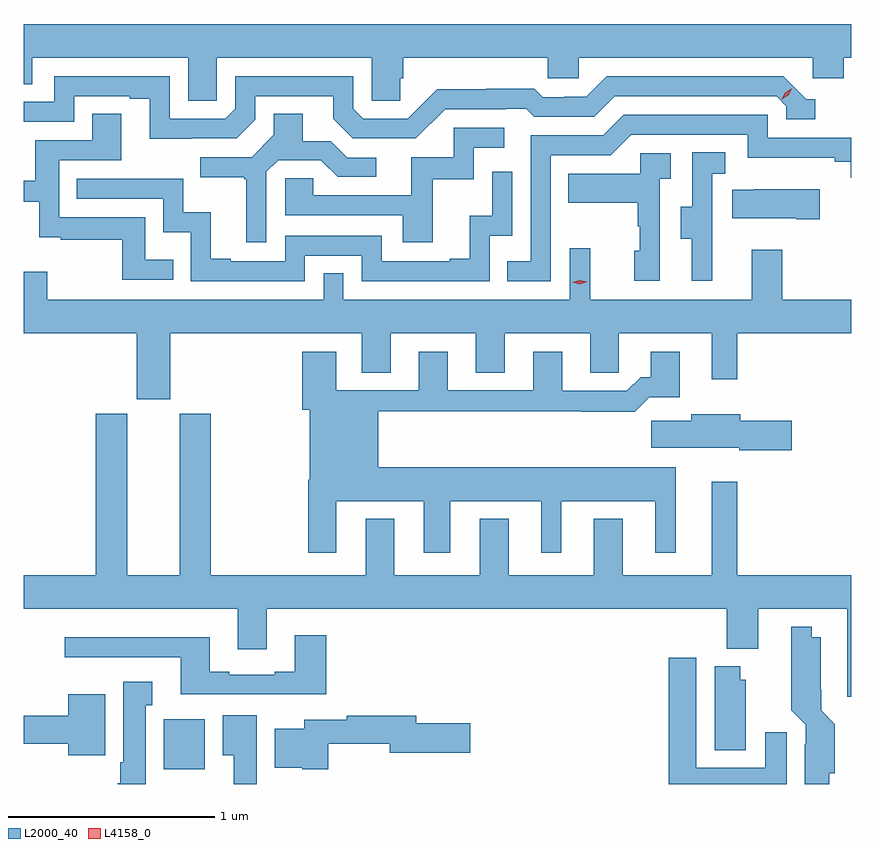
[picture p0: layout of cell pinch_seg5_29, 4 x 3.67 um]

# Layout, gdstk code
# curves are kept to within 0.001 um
import gdstk
lib = gdstk.Library(unit=1e-6, precision=1e-09)
def R(c, l, rs):  # rectangles x0, y0, x1, y1
    for r in rs: c.add(gdstk.rectangle(r[:2], r[2:], *l))
def P(c, l, *ps):  # polygons
    for p in ps: c.add(gdstk.Polygon(p, *l))
L2000_40 = (2000, 40)
L4158_0 = (4158, 0)

pinch_seg5_29 = lib.new_cell('pinch_seg5_29')
R(pinch_seg5_29, L2000_40, [(1106.42,902.606,1106.617,902.848)])
P(pinch_seg5_29, L2000_40, [(1105.743,905.917),(1105.785,905.917),(1105.785,906.044),(1106.537,906.044),(1106.537,905.836),(1106.676,905.836),(1106.676,906.044),(1107.426,906.044),(1107.426,905.836),(1107.563,905.836),(1107.563,905.946),(1107.578,905.946),(1107.578,906.044),(1108.275,906.044),(1108.275,905.946),(1108.425,905.946),(1108.425,906.044),(1109.556,906.044),(1109.556,905.946),(1109.708,905.946),(1109.708,906.044),(1109.743,906.044),(1109.743,906.208),(1105.743,906.208)],
  [(1106.556,905.655),(1106.772,905.655),(1106.862,905.745),(1106.862,905.859),(1107.239,905.859),(1107.239,905.749),(1107.333,905.655),(1107.639,905.655),(1107.78,905.796),(1108.073,905.796),(1108.073,905.799),(1108.172,905.799),(1108.211,905.76),(1108.5,905.76),(1108.599,905.859),(1109.382,905.859),(1109.43,905.811),(1109.43,905.748),(1109.569,905.748),(1109.569,905.844),(1109.526,905.844),(1109.415,905.955),(1108.562,905.955),(1108.463,905.856),(1108.356,905.856),(1108.356,905.853),(1108.253,905.853),(1108.211,905.896),(1107.978,905.896),(1107.978,905.893),(1107.742,905.893),(1107.6,905.751),(1107.384,905.751),(1107.336,905.799),(1107.336,905.955),(1106.766,905.955),(1106.766,905.799),(1106.718,905.751),(1106.448,905.751),(1106.448,905.955),(1105.89,905.955),(1105.89,905.832),(1105.743,905.832),(1105.743,905.736),(1105.986,905.736),(1105.986,905.859),(1106.255,905.859),(1106.255,905.847),(1106.351,905.847),(1106.351,905.654)],
  [(1106.916,905.493),(1106.973,905.55),(1107.179,905.55),(1107.26,905.469),(1107.448,905.469),(1107.448,905.562),(1107.306,905.562),(1107.226,905.642),(1107.091,905.642),(1107.091,905.774),(1106.951,905.774),(1106.951,905.672),(1106.844,905.565),(1106.595,905.565),(1106.595,905.468),(1106.808,905.468),(1106.808,905.457),(1106.819,905.457),(1106.819,905.154),(1106.916,905.154)],
  [(1106.465,905.068),(1106.331,905.068),(1106.331,905.274),(1105.914,905.274),(1105.914,905.55),(1106.215,905.55),(1106.215,905.774),(1106.075,905.774),(1106.075,905.646),(1105.798,905.646),(1105.798,905.45),(1105.743,905.45),(1105.743,905.349),(1105.818,905.349),(1105.818,905.177),(1105.921,905.177),(1105.921,905.166),(1106.22,905.166),(1106.22,904.971),(1106.465,904.971)],
  [(1108.29,905.574),(1108.581,905.574),(1108.68,905.673),(1109.244,905.673),(1109.244,905.561),(1109.663,905.561),(1109.663,905.542),(1109.74,905.542),(1109.74,905.465),(1109.743,905.465),(1109.743,905.658),(1109.34,905.658),(1109.34,905.769),(1108.643,905.769),(1108.544,905.67),(1108.194,905.67),(1108.194,905.061),(1108.081,905.061),(1108.081,904.965),(1108.29,904.965)],
  [(1107.719,905.457),(1107.918,905.457),(1107.918,905.61),(1108.066,905.61),(1108.066,905.706),(1107.822,905.706),(1107.822,905.565),(1107.617,905.565),(1107.617,905.379),(1107.143,905.379),(1107.143,905.463),(1107.006,905.463),(1107.006,905.283),(1107.575,905.283),(1107.575,905.154),(1107.719,905.154)],
  [(1109.072,905.181),(1109.07,905.181),(1109.07,905.485),(1109.134,905.485),(1109.134,905.588),(1108.974,905.588),(1108.974,905.325),(1108.919,905.325),(1108.919,905.17),(1108.973,905.17),(1108.973,904.968),(1109.072,904.968)],
  [(1108.818,905.459),(1108.87,905.459),(1108.87,905.583),(1108.722,905.583),(1108.722,905.485),(1108.375,905.485),(1108.375,905.345),(1108.71,905.345),(1108.71,905.231),(1108.72,905.231),(1108.72,905.112),(1108.694,905.112),(1108.694,904.968),(1108.818,904.968)],
  [(1107.102,905.088),(1107.378,905.088),(1107.378,904.965),(1107.996,904.965),(1107.996,905.184),(1108.104,905.184),(1108.104,905.494),(1108.008,905.494),(1108.008,905.282),(1107.899,905.282),(1107.899,905.074),(1107.803,905.074),(1107.803,905.061),(1107.474,905.061),(1107.474,905.184),(1107.006,905.184),(1107.006,905.061),(1106.743,905.061),(1106.743,905.074),(1106.647,905.074),(1106.647,905.299),(1106.514,905.299),(1106.514,905.46),(1105.999,905.46),(1105.999,905.364),(1106.418,905.364),(1106.418,905.201),(1106.55,905.201),(1106.55,904.965),(1107.102,904.965)],
  [(1109.59,905.41),(1109.275,905.41),(1109.275,905.407),(1109.167,905.407),(1109.167,905.27),(1109.477,905.27),(1109.477,905.263),(1109.59,905.263)],
  [(1106.452,904.712),(1107.377,904.712),(1107.377,904.522),(1107.517,904.522),(1107.517,904.712),(1107.929,904.712),(1107.929,904.522),(1108.069,904.522),(1108.069,904.712),(1108.481,904.712),(1108.481,904.522),(1108.62,904.522),(1108.62,904.712),(1109.069,904.712),(1109.069,904.491),(1109.191,904.491),(1109.191,904.712),(1109.743,904.712),(1109.743,904.876),(1109.409,904.876),(1109.409,905.116),(1109.261,905.116),(1109.261,904.876),(1108.481,904.876),(1108.481,905.125),(1108.383,905.125),(1108.383,904.876),(1107.288,904.876),(1107.288,905.003),(1107.192,905.003),(1107.192,904.876),(1105.857,904.876),(1105.857,905.011),(1105.743,905.011),(1105.743,904.712),(1106.288,904.712),(1106.288,904.395),(1106.452,904.395)],
  [(1107.253,903.902),(1107.677,903.902),(1107.677,903.651),(1107.805,903.651),(1107.805,903.902),(1108.244,903.902),(1108.244,903.651),(1108.342,903.651),(1108.342,903.902),(1108.796,903.902),(1108.796,903.651),(1108.894,903.651),(1108.894,904.066),(1107.457,904.066),(1107.457,904.336),(1108.441,904.336),(1108.441,904.334),(1108.697,904.334),(1108.766,904.403),(1108.915,904.403),(1108.915,904.624),(1108.775,904.624),(1108.775,904.501),(1108.726,904.501),(1108.659,904.434),(1108.345,904.434),(1108.345,904.624),(1108.205,904.624),(1108.205,904.437),(1107.793,904.437),(1107.793,904.624),(1107.653,904.624),(1107.653,904.437),(1107.253,904.437),(1107.253,904.624),(1107.089,904.624),(1107.089,904.344),(1107.125,904.344),(1107.125,904.006),(1107.118,904.006),(1107.118,903.651),(1107.253,903.651)],
  [(1109.743,903.544),(1109.191,903.544),(1109.191,903.994),(1109.069,903.994),(1109.069,903.544),(1108.639,903.544),(1108.639,903.817),(1108.499,903.817),(1108.499,903.544),(1108.087,903.544),(1108.087,903.817),(1107.947,903.817),(1107.947,903.544),(1107.535,903.544),(1107.535,903.817),(1107.395,903.817),(1107.395,903.544),(1106.646,903.544),(1106.646,904.323),(1106.498,904.323),(1106.498,903.544),(1106.242,903.544),(1106.242,904.323),(1106.09,904.323),(1106.09,903.544),(1105.743,903.544),(1105.743,903.38),(1106.777,903.38),(1106.777,903.186),(1106.917,903.186),(1106.917,903.38),(1109.141,903.38),(1109.141,903.188),(1109.293,903.188),(1109.293,903.38),(1109.723,903.38),(1109.723,902.955),(1109.743,902.955)],
  [(1109.455,904.29),(1109.206,904.29),(1109.206,904.321),(1108.97,904.321),(1108.97,904.289),(1108.776,904.289),(1108.776,904.16),(1109.202,904.16),(1109.202,904.148),(1109.455,904.148)],
  [(1109.638,902.586),(1109.664,902.586),(1109.664,902.823),(1109.597,902.89),(1109.596,903.244),(1109.551,903.244),(1109.551,903.295),(1109.454,903.295),(1109.453,902.89),(1109.523,902.82),(1109.523,902.726),(1109.519,902.726),(1109.519,902.534),(1109.638,902.534)],
  [(1107.206,903.253),(1107.053,903.253),(1107.053,903.076),(1106.957,903.076),(1106.957,903.063),(1106.737,903.063),(1106.737,903.076),(1106.641,903.076),(1106.641,903.244),(1105.941,903.244),(1105.941,903.147),(1106.501,903.147),(1106.501,902.967),(1107.206,902.967)],
  [(1109.431,902.785),(1109.327,902.785),(1109.327,902.613),(1108.993,902.613),(1108.993,903.145),(1108.862,903.145),(1108.862,902.534),(1109.431,902.534)],
  [(1109.233,903.039),(1109.206,903.039),(1109.206,903.103),(1109.084,903.103),(1109.084,902.698),(1109.233,902.698)],
  [(1106.332,902.915),(1106.365,902.915),(1106.365,903.028),(1106.225,903.028),(1106.225,902.638),(1106.21,902.638),(1106.21,902.538),(1106.198,902.538),(1106.198,902.534),(1106.332,902.534)],
  [(1106.137,902.968),(1105.958,902.968),(1105.958,902.864),(1105.743,902.864),(1105.743,902.728),(1105.958,902.728),(1105.958,902.672),(1106.137,902.672)],
  [(1106.869,902.866),(1106.705,902.866),(1106.705,902.672),(1106.759,902.672),(1106.759,902.534),(1106.869,902.534)],
  [(1107.216,902.728),(1107.512,902.728),(1107.512,902.686),(1107.901,902.686),(1107.901,902.828),(1107.64,902.828),(1107.64,902.864),(1107.304,902.864),(1107.304,902.844),(1107.098,902.844),(1107.098,902.8),(1106.957,902.8),(1106.957,902.612),(1107.09,902.612),(1107.09,902.606),(1107.216,902.606)])
P(pinch_seg5_29, L4158_0, [(1108.43,904.95),(1108.394,904.959),(1108.394,904.96),(1108.394,904.96),(1108.43,904.97),(1108.466,904.961),(1108.466,904.961),(1108.466,904.961)],
  [(1109.407,905.844),(1109.407,905.844),(1109.424,905.876),(1109.454,905.896),(1109.455,905.896),(1109.455,905.896),(1109.438,905.863),(1109.407,905.844)])

lib.write_gds('pinch_seg5_29.gds')
